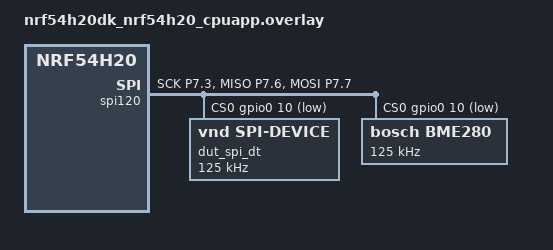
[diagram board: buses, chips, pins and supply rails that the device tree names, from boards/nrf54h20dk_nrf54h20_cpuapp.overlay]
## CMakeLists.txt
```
# SPDX-License-Identifier: LicenseRef-Nordic-5-Clause

cmake_minimum_required(VERSION 3.20.0)

# Set C/C++ standards
set(CMAKE_C_STANDARD 11)
set(CMAKE_CXX_STANDARD 17)
set(CMAKE_CXX_STANDARD_REQUIRED ON)

# Force C++ compiler usage for main.cpp
set_source_files_properties(src/main.cpp PROPERTIES LANGUAGE CXX)

# Enable verbose output for debugging
set(CMAKE_VERBOSE_MAKEFILE ON)

# Add custom flags
set(CMAKE_C_FLAGS "${CMAKE_C_FLAGS} -DSTATIC_INIT_GNU")
set(CMAKE_CXX_FLAGS "${CMAKE_CXX_FLAGS} -DSTATIC_INIT_GNU -D_GLIBCXX_USE_CXX11_ABI=1")

# Find Zephyr and set up the project
find_package(Zephyr REQUIRED HINTS $ENV{ZEPHYR_BASE})
project(nrf_connect_sdk_intermediate)
#set(PM_YML_FILE ${CMAKE_CURRENT_SOURCE_DIR}/pm.yml)
# Include directories
target_include_directories(app PRIVATE
    ${CMAKE_CURRENT_SOURCE_DIR}/LIS302DL_driver/inc
    ${CMAKE_CURRENT_SOURCE_DIR}/src
)

# Add libraries and subdirectories
add_subdirectory(lib)

# Define source files
set(SOURCES
    src/main.cpp
    LIS302DL_driver/src/Accelero_instance.c
    LIS302DL_driver/src/LIS302DL.c
)

# Add sources to the app target
target_sources(app PRIVATE ${SOURCES})

# Link C++ standard library explicitly
target_link_libraries(app PRIVATE stdc++)
```

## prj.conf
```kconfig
#
# Copyright (c) 2024 Nordic Semiconductor
#
# SPDX-License-Identifier: LicenseRef-Nordic-5-Clause
#

CONFIG_LOG=y
CONFIG_STATIC_INIT_GNU=y
#CONFIG_CPLUSPLUS=y
CONFIG_CBPRINTF_FP_SUPPORT=y
CONFIG_RESET_ON_FATAL_ERROR=n
CONFIG_SERIAL=y
CONFIG_UART_CONSOLE=y
CONFIG_CONSOLE=y
CONFIG_DEBUG=y
CONFIG_DEBUG_INFO=y
#CONFIG_POSIX_API=y
#    STEP 1.1 - Enable Kconfigs for SPI and GPIO
#CONFIG_ARM_SECURE_FIRMWARE=y
#CONFIG_ARM_NONSECURE=y
#CONFIG_BME280=y
CONFIG_GPIO=y

CONFIG_SPI=y
CONFIG_SPI_ASYNC=y
CONFIG_SPI_LOG_LEVEL_INF=y

CONFIG_SENSOR=y
CONFIG_POSIX_API=y
CONFIG_NEWLIB_LIBC=y
CONFIG_STDOUT_CONSOLE=y
CONFIG_CLOCK_CONTROL=y
CONFIG_POSIX_CLOCK=y
#CONFIG_CPLUSPLUS=y
CONFIG_STD_CPP14=y
#CONFIG_LIB_CPLUSPLUS=y
#CONFIG_MAIN_STACK_SIZE=8192
CONFIG_ISR_STACK_SIZE=4096
#CONFIG_SOC_NRF54H20_GENERATE_BICR=y

CONFIG_LTO=y

CONFIG_MAIN_STACK_SIZE=1024
CONFIG_IDLE_STACK_SIZE=512
CONFIG_SYSTEM_WORKQUEUE_STACK_SIZE=1024
CONFIG_HEAP_MEM_POOL_SIZE=0


#CONFIG_OPTIMIZE_SIZE=y         # Reduce binary size
CONFIG_DEBUG_OPTIMIZATIONS=n   # Strip debug symbols
CONFIG_NO_OPTIMIZATIONS=y

CONFIG_LOG=n
CONFIG_PRINTK=n
CONFIG_ASSERT=n
CONFIG_BOOT_BANNER=n
CONFIG_DEBUG=n
```

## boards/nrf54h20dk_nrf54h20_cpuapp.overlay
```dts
/*
 * Copyright (c) 2024 Nordic Semiconductor ASA
 *
 * SPDX-License-Identifier: Apache-2.0
 */

&pinctrl {
	spi120_default: spi120_default {
		group1 {
			psels = <NRF_PSEL(SPIM_SCK, 7, 3)>,
				<NRF_PSEL(SPIM_MISO, 7, 6)>,
				<NRF_PSEL(SPIM_MOSI, 7, 7)>;
		};
	};

	spi120_sleep: spi120_sleep {
		group1 {
			psels = <NRF_PSEL(SPIM_SCK, 7, 3)>,
				<NRF_PSEL(SPIM_MISO, 7, 6)>,
				<NRF_PSEL(SPIM_MOSI, 7, 7)>;
			low-power-enable;
		};
	};
};

&spi120 {
	status = "okay";
	pinctrl-0 = <&spi120_default>;
	pinctrl-1 = <&spi120_sleep>;
	pinctrl-names = "default", "sleep";
	cs-gpios = <&gpio0 10 GPIO_ACTIVE_LOW>;
    dut_spi_dt: test-spi-dev@0 {
    compatible = "vnd,spi-device";
    reg = <0>;
    spi-max-frequency = <125000>;
  };

    bme280: bme280@0 {
    compatible = "bosch,bme280";
    reg = <0>;
    spi-max-frequency = <125000> ;
    status = "okay";
  };

};


&gpio0 {
	status = "okay";
};
```

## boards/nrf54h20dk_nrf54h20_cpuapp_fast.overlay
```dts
/*
 * Copyright (c) 2024 Nordic Semiconductor
 *
 * SPDX-License-Identifier: Apache-2.0
 */

&pinctrl {
	spi121_default_alt: spi121_default_alt {
		group1 {
			psels = <NRF_PSEL(SPIM_SCK, 7, 2)>,
				<NRF_PSEL(SPIM_MISO, 7, 0)>,
				<NRF_PSEL(SPIM_MOSI, 7, 1)>;
		};
	};

	spi121_sleep_alt: spi121_sleep_alt {
		group1 {
			psels = <NRF_PSEL(SPIM_SCK, 7, 2)>,
				<NRF_PSEL(SPIM_MISO, 7, 0)>,
				<NRF_PSEL(SPIM_MOSI, 7, 1)>;
			low-power-enable;
		};
	};

	spis131_default_alt: spis131_default_alt {
		group1 {
			psels = <NRF_PSEL(SPIS_SCK, 1, 0)>,
				<NRF_PSEL(SPIS_MISO, 1, 9)>,
				<NRF_PSEL(SPIS_MOSI, 1, 5)>,
				<NRF_PSEL(SPIS_CSN, 0, 11)>;
		};
	};

	spis131_sleep_alt: spis131_sleep_alt {
		group1 {
			psels = <NRF_PSEL(SPIS_SCK, 1, 0)>,
				<NRF_PSEL(SPIS_MISO, 1, 9)>,
				<NRF_PSEL(SPIS_MOSI, 1, 5)>,
				<NRF_PSEL(SPIS_CSN, 0, 11)>;
			low-power-enable;
		};
	};
};

&gpio0 {
	status = "okay";
};

&spi121 {
	compatible = "nordic,nrf-spim";
	status = "okay";
	pinctrl-0 = <&spi121_default_alt>;
	pinctrl-1 = <&spi121_sleep_alt>;
	pinctrl-names = "default", "sleep";
	overrun-character = <0x00>;
	memory-regions = <&dma_fast_region>;
	cs-gpios = <&gpio0 10 GPIO_ACTIVE_LOW>;
	dut_spi_dt: test-spi-dev@0 {
		compatible = "vnd,spi-device";
		reg = <0>;
		spi-max-frequency = <DT_FREQ_M(8)>;
	};
  
    bme280: bme280@0 {
    compatible = "bosch,bme280";
    reg = <0>;
    spi-max-frequency = <125000> ;
    status = "okay";
  };

  
};

dut_spis: &spi131 {
	compatible = "nordic,nrf-spis";
	status = "okay";
	def-char = <0x00>;
	pinctrl-0 = <&spis131_default_alt>;
	pinctrl-1 = <&spis131_sleep_alt>;
	pinctrl-names = "default", "sleep";
	memory-regions = <&cpuapp_dma_region>;
	/delete-property/rx-delay-supported;
	/delete-property/rx-delay;
};
```

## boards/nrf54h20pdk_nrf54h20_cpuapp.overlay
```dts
/* STEP 2.1 - Add the SPI peripheral to spi1 */
//&i2c0 {	status = "disabled";};
//&spi0 {	status = "disabled";};
//&i2c1 {	status = "disabled";};
	
&spi130 {
  compatible = "nordic,nrf-spim";
	status = "okay";
	pinctrl-0 = <&spis131_default>;
	pinctrl-1 = <&spis131_sleep>;
	pinctrl-names = "default", "sleep";
  //label = "SPI_131";
	cs-gpios = <&gpio0 11 GPIO_ACTIVE_LOW>;
bme280: bme280@0 {
		compatible = "bosch,bme280";
		reg = <0>;
		spi-max-frequency = <125000> ;
	};
};


/* STEP 2.2 - Change the pin configuration */
&pinctrl {
	spis131_default: spis131_default {
		group1 {
				psels = <NRF_PSEL(SPIM_SCK, 0, 0)>,
						<NRF_PSEL(SPIM_MOSI, 0, 6)>,
						<NRF_PSEL(SPIM_MISO, 0, 8)>;

		};
	};

	spis131_sleep: spis131_sleep {
		group1 {
				psels = <NRF_PSEL(SPIM_SCK, 0, 0)>,
						<NRF_PSEL(SPIM_MOSI, 0, 6)>,
						<NRF_PSEL(SPIM_MISO, 0, 8)>;
				low-power-enable;
		};
	};
};
/*
&gpio0{
  cs_pin: cs_pin {
    gpio-pin = <25>;
    direction = "out";
    output-low;
  };
};*/
```

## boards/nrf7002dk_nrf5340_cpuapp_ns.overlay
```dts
/* STEP 2.1 - Add the SPI peripheral to spi1 */
&i2c0 {	status = "disabled";};
&spi0 {	status = "disabled";};
&i2c1 {	status = "disabled";};
	
&spi1 {
    compatible = "nordic,nrf-spim";
	status = "okay";
	pinctrl-0 = <&spi1_default>;
	pinctrl-1 = <&spi1_sleep>;
	pinctrl-names = "default", "sleep";
	cs-gpios = <&gpio0 25 GPIO_ACTIVE_LOW>;
	bme280: bme280@0 {
		compatible = "bosch,bme280";
		reg = <0>;
		spi-max-frequency = <125000> ;
	};
};

/* STEP 2.2 - Change the pin configuration */
&pinctrl {
	spi1_default: spi1_default {
		group1 {
				psels = <NRF_PSEL(SPIM_SCK, 0, 6)>,
						<NRF_PSEL(SPIM_MOSI, 0, 7)>,
						<NRF_PSEL(SPIM_MISO, 0, 26)>;
		};
	};

	spi1_sleep: spi1_sleep {
		group1 {
				psels = <NRF_PSEL(SPIM_SCK, 0, 6)>,
						<NRF_PSEL(SPIM_MOSI, 0, 7)>,
						<NRF_PSEL(SPIM_MISO, 0, 26)>;
				low-power-enable;
		};
	};
};
/*
&gpio0{
  cs_pin: cs_pin {
    gpio-pin = <25>;
    direction = "out";
    output-low;
  };
};*/
```

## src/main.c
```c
/*
 * Copyright (c) 2024 Nordic Semiconductor ASA
 *
 * SPDX-License-Identifier: LicenseRef-Nordic-5-Clause
 */

#include <zephyr/kernel.h>
#include <zephyr/logging/log.h>

/* STEP 1.2 - Include the header files for SPI, GPIO and devicetree */
#include <zephyr/device.h>
#include <zephyr/devicetree.h>
#include <zephyr/drivers/gpio.h>
#include <zephyr/drivers/spi.h>
#include "LIS302DL.h"
LOG_MODULE_REGISTER(Lesson5_Exercise1, LOG_LEVEL_INF);

const struct gpio_dt_spec ledspec = GPIO_DT_SPEC_GET(DT_NODELABEL(led0), gpios);

/* STEP 3 - Retrieve the API-device structure */
// #define SPIOP	SPI_WORD_SET(8) | SPI_TRANSFER_MSB
// struct spi_dt_spec spispec = SPI_DT_SPEC_GET(DT_NODELABEL(bme280), SPIOP, 0);

/* Data structure to store BME280 data */

int main(void)
{
	int err;
	
	err = gpio_is_ready_dt(&ledspec);
	if (!err) {
		LOG_ERR("Error: GPIO device is not ready, err: %d", err);
		return 0;
	}

	/* STEP 10.1 - Check if SPI and GPIO devices are ready */
	// err = spi_is_ready_dt(&spispec);
	if (!err) {
		LOG_ERR("Error: SPI device is not ready, err: %d", err);
		return 0;
	}

	gpio_pin_configure_dt(&ledspec, GPIO_OUTPUT_ACTIVE);
	
	/* STEP 10.2 - Read calibration data */

	/* STEP 10.3 - Write sampling parameters and read and print the registers */
	// bme_write_reg(CTRLHUM, 0x04);
	// bme_write_reg(CTRLMEAS, 0x93);	
	
	LOG_INF("Continuously read sensor samples, compensate, and display");
  //hello_world();
	while(1){
    hello_world();
		/* STEP 10.4 - Continuously read sensor samples and toggle led */
		// bme_read_sample();
		//gpio_pin_toggle_dt(&ledspec);
		//k_msleep(1);
	}

	return 0;
}
```

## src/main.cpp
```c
#include <zephyr/kernel.h>
#include <zephyr/logging/log.h>
#include <zephyr/device.h>
#include <zephyr/devicetree.h>
#include <zephyr/drivers/gpio.h>
#include <zephyr/drivers/spi.h>
#include <zephyr/drivers/sensor.h>
#include "LIS302DL.h"

#include <stdio.h>
#include <cstring>
#include <iostream>
#include <sstream>

#include "dsp/spectral/feature.hpp"
#include "edge-impulse-sdk/classifier/ei_run_classifier.h"

int detect_motion(std::vector<float>& raw_features);




static int64_t sampling_freq = EI_CLASSIFIER_FREQUENCY; // in Hz.
static int64_t time_between_samples_us = (1000000 / (sampling_freq - 1));



// Callback function declaration
static int get_signal_data(size_t offset, size_t length, float *out_ptr);

void *__dso_handle = 0;

LOG_MODULE_REGISTER(Lesson5_Exercise1, LOG_LEVEL_INF);

const struct gpio_dt_spec ledspec = GPIO_DT_SPEC_GET(DT_NODELABEL(led0), gpios);
void convert_to_sensor_value(OutValue_TypeDef *out_val, struct sensor_value *sensor_val) {
    sensor_val[0].val1 = (int32_t) out_val->OUT_X;
    sensor_val[0].val2 = 0;  // No fractional part

    sensor_val[1].val1 = (int32_t) out_val->OUT_Y;
    sensor_val[1].val2 = 0;

    sensor_val[2].val1 = (int32_t) out_val->OUT_Z;
    sensor_val[2].val2 = 0;
}

double m_sensor_value_to_double(struct sensor_value *val)
{
	return (double)val->val1 + (double)val->val2 / 1000000;
}
int main(void)
{
	int err;
	
	err = gpio_is_ready_dt(&ledspec);
	if (!err) {
		LOG_ERR("Error: GPIO device is not ready, err: %d", err);
		return 0;
	}

	if (!err) {
		LOG_ERR("Error: SPI device is not ready, err: %d", err);
		return 0;
	}

	gpio_pin_configure_dt(&ledspec, GPIO_OUTPUT_ACTIVE);

	
	LOG_INF("Continuously read sensor samples, compensate, and display");
	while(1){
    std::vector<float> features;
    features.resize(EI_CLASSIFIER_DSP_INPUT_FRAME_SIZE);
    for (size_t ix = 0; ix < EI_CLASSIFIER_DSP_INPUT_FRAME_SIZE;
                          ix += EI_CLASSIFIER_RAW_SAMPLES_PER_FRAME) {
      // start a timer that expires when we need to grab the next value
      struct k_timer next_val_timer;
      k_timer_init(&next_val_timer, NULL, NULL);
      k_timer_start(&next_val_timer, K_USEC(time_between_samples_us), K_NO_WAIT);
      OutValue_TypeDef value_accelerometer = read_accelerometerData();
      // fill the features array
      struct sensor_value sensor_data[3] = {
        {0, 0},
        {0, 0},
        {0, 0} };
      //convert_to_sensor_value(&value_accelerometer, &sensor_data); 
      convert_to_sensor_value(&value_accelerometer, sensor_data);
      //double test_data = m_sensor_value_to_double(&sensor_data[0]); 
      features[ix + 0] = m_sensor_value_to_double(&sensor_data[0]);
      features[ix + 1] = m_sensor_value_to_double(&sensor_data[1]);
      features[ix + 2] = m_sensor_value_to_double(&sensor_data[2]);

      // busy loop until next value should be grabbed
      while (k_timer_status_get(&next_val_timer) <= 0);
      
    }
    
    detect_motion(features);


	}

	return 0;
}
// Trim whitespace around value




int detect_motion(std::vector<float>& raw_features) {


    // Make sure that the length of the buffer matches expected input length
    if (raw_features.size() != EI_CLASSIFIER_DSP_INPUT_FRAME_SIZE) {
        printk("The size of your 'features' array is not correct. Expected %d items, but had %lu\n",
            EI_CLASSIFIER_DSP_INPUT_FRAME_SIZE, raw_features.size());
        return 1;
    }

    // Stores the prediction results from inference
    ei_impulse_result_t result;

    // Set up callback for providing raw features to run_classifier()
    signal_t signal;
    numpy::signal_from_buffer(&raw_features[0], raw_features.size(), &signal);

    // Perform DSP pre-processing and inference
    EI_IMPULSE_ERROR res = run_classifier(&signal, &result, false);

    // Print return code and how long it took to perform inference
    printk("run_classifier returned: %d\r\n", res);
    printk("Timing: DSP %d ms, inference %d ms, anomaly %d ms\r\n", 
            result.timing.dsp, 
            result.timing.classification, 
            result.timing.anomaly);
    printk("Begin output\r\n");

    // Print the prediction results (object detection)
#if EI_CLASSIFIER_OBJECT_DETECTION == 1
    printk("Object detection bounding boxes:\r\n");
    for (uint32_t i = 0; i < result.bounding_boxes_count; i++) {
        ei_impulse_result_bounding_box_t bb = result.bounding_boxes[i];
        if (bb.value == 0) {
            continue;
        }
        printk("  %s (%f) [ x: %u, y: %u, width: %u, height: %u ]\r\n", 
                bb.label, 
                bb.value, 
                bb.x, 
                bb.y, 
                bb.width, 
                bb.height);
    }

    // Print the prediction results (classification)
#else
    printk("Predictions:\r\n");
    for (uint16_t i = 0; i < EI_CLASSIFIER_LABEL_COUNT; i++) {
        printk("  %s: ", ei_classifier_inferencing_categories[i]);
        printk("%.5f\r\n", result.classification[i].value);
    }
#endif

    // Print anomaly result (if it exists)
#if EI_CLASSIFIER_HAS_ANOMALY == 1
    printk("Anomaly prediction: %.3f\r\n", result.anomaly);
#endif

    printk("End output\r\n");

    return 0;
}
```
